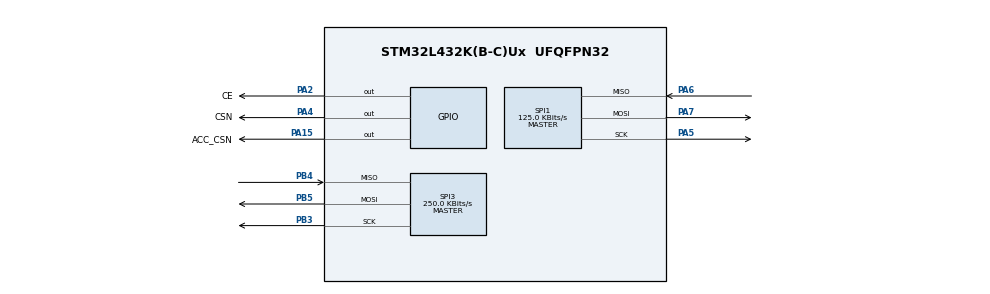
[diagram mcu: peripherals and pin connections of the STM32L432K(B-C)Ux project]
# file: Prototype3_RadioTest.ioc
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Mcu.Family=STM32L4
Mcu.Name=STM32L432K(B-C)Ux
Mcu.Package=UFQFPN32
NVIC.PriorityGroup=NVIC_PRIORITYGROUP_4
PA15\ (JTDI).GPIO_Label=ACC_CSN
PA15\ (JTDI).PinState=GPIO_PIN_RESET
PA15\ (JTDI).Signal=GPIO_Output
PA2.GPIO_Label=CE
PA2.Signal=GPIO_Output
PA4.GPIO_Label=CSN
PA4.PinState=GPIO_PIN_RESET
PA4.Signal=GPIO_Output
PA5.Mode=Full_Duplex_Master
PA5.Signal=SPI1_SCK
PA6.Mode=Full_Duplex_Master
PA6.Signal=SPI1_MISO
PA7.Mode=Full_Duplex_Master
PA7.Signal=SPI1_MOSI
PB3\ (JTDO-TRACESWO).Mode=Full_Duplex_Master
PB3\ (JTDO-TRACESWO).Signal=SPI3_SCK
PB4\ (NJTRST).Mode=Full_Duplex_Master
PB4\ (NJTRST).Signal=SPI3_MISO
PB5.Mode=Full_Duplex_Master
PB5.Signal=SPI3_MOSI
ProjectManager.HeapSize=0x200
ProjectManager.StackSize=0x400
ProjectManager.TargetToolchain=STM32CubeIDE
RCC.HSE_VALUE=8000000
RCC.HSI48_VALUE=48000000
RCC.HSI_VALUE=16000000
RCC.LSE_VALUE=32768
RCC.MSI_VALUE=4000000
RCC.VCOOutputFreq_Value=32000000
SPI1.BaudRatePrescaler=SPI_BAUDRATEPRESCALER_32
SPI1.CalculateBaudRate=125.0 KBits/s
SPI1.DataSize=SPI_DATASIZE_8BIT
SPI1.Direction=SPI_DIRECTION_2LINES
SPI1.Mode=SPI_MODE_MASTER
SPI1.VirtualType=VM_MASTER
SPI3.BaudRatePrescaler=SPI_BAUDRATEPRESCALER_16
SPI3.CLKPhase=SPI_PHASE_2EDGE
SPI3.CLKPolarity=SPI_POLARITY_HIGH
SPI3.CalculateBaudRate=250.0 KBits/s
SPI3.DataSize=SPI_DATASIZE_8BIT
SPI3.Direction=SPI_DIRECTION_2LINES
SPI3.Mode=SPI_MODE_MASTER
SPI3.VirtualType=VM_MASTER
board=custom

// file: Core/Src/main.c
/* USER CODE BEGIN Header */
/**
  ******************************************************************************
  * @file           : main.c
  * @brief          : Main program body
  ******************************************************************************
  * @attention
  *
  * Copyright (c) 2023 STMicroelectronics.
  * All rights reserved.
  *
  * This software is licensed under terms that can be found in the LICENSE file
  * in the root directory of this software component.
  * If no LICENSE file comes with this software, it is provided AS-IS.
  *
  ******************************************************************************
  */
/* USER CODE END Header */
#include "main.h"

/* USER CODE BEGIN Includes */
#include "nRF24L01.h"
/* USER CODE END Includes */

SPI_HandleTypeDef hspi1;
SPI_HandleTypeDef hspi3;

void SystemClock_Config(void);
static void MX_GPIO_Init(void);
static void MX_SPI1_Init(void);
static void MX_SPI3_Init(void);
/* USER CODE BEGIN PFP */
uint8_t acctxbuffer[8];
uint8_t accrxbuffer[8];
uint32_t SPITIMEOUT = 100;

uint8_t accSpiReadByte(uint8_t address)
{
	acctxbuffer[0] = address | 1 << 7; // set msb for reads
	acctxbuffer[1] = 0;
	HAL_GPIO_WritePin(GPIOA, ACC_CSN_Pin, GPIO_PIN_RESET); // Pull CS low
	HAL_SPI_TransmitReceive(&hspi3, acctxbuffer, accrxbuffer, 2*sizeof(uint8_t), SPITIMEOUT);
	HAL_GPIO_WritePin(GPIOA, ACC_CSN_Pin, GPIO_PIN_SET); // Release chip select
	return accrxbuffer[1];
}

void accSpiWriteByte(uint8_t address, uint8_t value)
{
	acctxbuffer[0] = address;
	acctxbuffer[1] = value;
	HAL_GPIO_WritePin(GPIOA, ACC_CSN_Pin, GPIO_PIN_RESET); // Pull CS low
	HAL_SPI_Transmit(&hspi3, acctxbuffer, 2, SPITIMEOUT);
	HAL_GPIO_WritePin(GPIOA, ACC_CSN_Pin, GPIO_PIN_SET); // Release chip select
}

uint8_t spiReadByte(uint8_t address);
void spiWriteByte(uint8_t address, uint8_t value);
void spiReadNByte(uint8_t reg, uint8_t *buf, uint8_t len);
void spiWriteNByte(uint8_t address, const uint8_t *buf, uint8_t len);
void setupTXsimple(void);
void checkTXsimple(uint8_t *buf, uint8_t *buf2 );
void transmitByte(uint8_t data);
void transmitBytes(uint8_t* txdata, uint8_t len);
void flushTXFIFO(void);
void flushRXFIFO(void);
void setupRXsimple();
uint8_t receiveByte();
/* USER CODE END PFP */

int main(void)
{

  /* MCU Configuration--------------------------------------------------------*/

  /* Reset of all peripherals, Initializes the Flash interface and the Systick. */
  HAL_Init();

  /* Configure the system clock */
  SystemClock_Config();

  /* Initialize all configured peripherals */
  MX_GPIO_Init();
  MX_SPI1_Init();
  MX_SPI3_Init();
  /* USER CODE BEGIN 2 */
  uint8_t checkStatus, checkFIFO_Status;
  //uint8_t receivedByte;
  setupTXsimple();
  //setupRXsimple(); // Configure as a receiver

  HAL_GPIO_WritePin(GPIOA, CE_Pin, GPIO_PIN_SET);
  HAL_GPIO_WritePin(GPIOA, ACC_CSN_Pin, GPIO_PIN_SET);

  // Setup the accelerometer
  // Read the WHO_AM_I Register (should be 0x31 = 51)
  uint8_t debug = accSpiReadByte(0x0F); // Should be 0x31 = 51
  debug = accSpiReadByte(0x0F);
  debug = accSpiReadByte(0x0F);

  // Setup the LIS3DH for use
  // CTRL_REG1 (20h) = 01110111 (0x77) - 400 Hz conversion rate
  // CTRL_REG1 (20h) = 00100111 (0x27) - 10 Hz conversion rate
  accSpiWriteByte(0x20, 0x77); // highest conversion rate, all axis on

  // CTRL_REG4 (23h) = 10001000 (0x88), low res 10000000 (0x80)
  accSpiWriteByte(0x23, 0x88); // block update, and high resolution

  //uint8_t xlow, xhigh, ylow, yhigh, zlow, zhigh = 0; // Acceleration values
  uint8_t dataBuffer[8]; // xlow, xhigh, ylow, yhigh, zlow, zhigh, steplow, stephigh
  int16_t xval, yval, zval;
  uint32_t accMag;

  uint32_t stepThresh = 1250*1250; // About 12 m/s^2
  uint32_t resetThresh = 1100*1100; // Use a different reset threshold for hysteresis
  uint32_t resetDelay = 200; // Count multiple steps within this time as one step
  uint32_t resetTimer = 0;
  int stepFlag = 0;
  uint16_t stepCount = 0; // IMPORTANT: Overflows at 65535 steps.
  int accSampleDelay = 1;
  int transmitDelay = 500;
  int transmitTimer = 0;
  /* USER CODE END 2 */

  /* Infinite loop */
  while (1)
  {

    /* USER CODE BEGIN 3 */
	HAL_Delay(accSampleDelay);
	transmitTimer += accSampleDelay;

	// 2 Hz continuous acceleration transmission
	// Read accelerometer
	dataBuffer[0] = accSpiReadByte(0x28); // xlow
	dataBuffer[1] = accSpiReadByte(0x29); // xhigh
	dataBuffer[2] = accSpiReadByte(0x2A); // ylow
	dataBuffer[3] = accSpiReadByte(0x2B); // yhigh
	dataBuffer[4] = accSpiReadByte(0x2C); // zlow
	dataBuffer[5] = accSpiReadByte(0x2D); // zhigh

	// Convert data to acceleration values
	xval = ((int16_t)(dataBuffer[1]<<8) | (dataBuffer[0]))/16;
	yval = ((int16_t)(dataBuffer[3]<<8) | (dataBuffer[2]))/16;
	zval = ((int16_t)(dataBuffer[5]<<8) | (dataBuffer[4]))/16;

	// Step counter
	accMag = xval*xval + yval*yval + zval*zval;
	if (!stepFlag)
	{
		if (accMag > stepThresh)
		{
			// Step registered
			stepFlag = 1;
			resetTimer = 0;
			stepCount++;
		}
	}
	else
	{
		resetTimer += accSampleDelay;
		if (resetTimer >= resetDelay && accMag < resetThresh)
		{
			// End of step
			stepFlag = 0;
		}
	}

	// Transmit data every 2 Hz
	if (transmitTimer >= transmitDelay)
	{
		transmitTimer -= transmitDelay;

		// Move current steps into data buffer
		dataBuffer[6] = stepCount & 0xFF; // Lower 8 bits of step count (steplow)
		dataBuffer[7] = stepCount >> 8; // Upper 8 bits of step count (stephigh)

		// Transmit data
		checkStatus = spiReadByte(REG_STATUS); // Expect x0E
		checkFIFO_Status = spiReadByte(REG_FIFO_STATUS); // x11 expected
		transmitBytes(dataBuffer, 8);
		checkStatus = spiReadByte(REG_STATUS); // Expect x2E
		spiWriteByte(REG_STATUS, 0x2E); // CLEARing datasend flag!
		checkStatus = spiReadByte(REG_STATUS); // Expect x0E
		checkFIFO_Status = spiReadByte(REG_FIFO_STATUS);// x01 expected
		flushTXFIFO();
	}
  }
  /* USER CODE END 3 */
}

void SystemClock_Config(void)
{
  RCC_OscInitTypeDef RCC_OscInitStruct = {0};
  RCC_ClkInitTypeDef RCC_ClkInitStruct = {0};

  /** Configure the main internal regulator output voltage
  */
  if (HAL_PWREx_ControlVoltageScaling(PWR_REGULATOR_VOLTAGE_SCALE1) != HAL_OK)
  {
    Error_Handler();
  }

  /** Initializes the RCC Oscillators according to the specified parameters
  * in the RCC_OscInitTypeDef structure.
  */
  RCC_OscInitStruct.OscillatorType = RCC_OSCILLATORTYPE_MSI;
  RCC_OscInitStruct.MSIState = RCC_MSI_ON;
  RCC_OscInitStruct.MSICalibrationValue = 0;
  RCC_OscInitStruct.MSIClockRange = RCC_MSIRANGE_6;
  RCC_OscInitStruct.PLL.PLLState = RCC_PLL_NONE;
  if (HAL_RCC_OscConfig(&RCC_OscInitStruct) != HAL_OK)
  {
    Error_Handler();
  }

  /** Initializes the CPU, AHB and APB buses clocks
  */
  RCC_ClkInitStruct.ClockType = RCC_CLOCKTYPE_HCLK|RCC_CLOCKTYPE_SYSCLK
                              |RCC_CLOCKTYPE_PCLK1|RCC_CLOCKTYPE_PCLK2;
  RCC_ClkInitStruct.SYSCLKSource = RCC_SYSCLKSOURCE_MSI;
  RCC_ClkInitStruct.AHBCLKDivider = RCC_SYSCLK_DIV1;
  RCC_ClkInitStruct.APB1CLKDivider = RCC_HCLK_DIV1;
  RCC_ClkInitStruct.APB2CLKDivider = RCC_HCLK_DIV1;

  if (HAL_RCC_ClockConfig(&RCC_ClkInitStruct, FLASH_LATENCY_0) != HAL_OK)
  {
    Error_Handler();
  }
}

static void MX_SPI1_Init(void)
{

  /* SPI1 parameter configuration*/
  hspi1.Instance = SPI1;
  hspi1.Init.Mode = SPI_MODE_MASTER;
  hspi1.Init.Direction = SPI_DIRECTION_2LINES;
  hspi1.Init.DataSize = SPI_DATASIZE_8BIT;
  hspi1.Init.CLKPolarity = SPI_POLARITY_LOW;
  hspi1.Init.CLKPhase = SPI_PHASE_1EDGE;
  hspi1.Init.NSS = SPI_NSS_SOFT;
  hspi1.Init.BaudRatePrescaler = SPI_BAUDRATEPRESCALER_32;
  hspi1.Init.FirstBit = SPI_FIRSTBIT_MSB;
  hspi1.Init.TIMode = SPI_TIMODE_DISABLE;
  hspi1.Init.CRCCalculation = SPI_CRCCALCULATION_DISABLE;
  hspi1.Init.CRCPolynomial = 7;
  hspi1.Init.CRCLength = SPI_CRC_LENGTH_DATASIZE;
  hspi1.Init.NSSPMode = SPI_NSS_PULSE_ENABLE;
  if (HAL_SPI_Init(&hspi1) != HAL_OK)
  {
    Error_Handler();
  }

}

static void MX_SPI3_Init(void)
{

  /* SPI3 parameter configuration*/
  hspi3.Instance = SPI3;
  hspi3.Init.Mode = SPI_MODE_MASTER;
  hspi3.Init.Direction = SPI_DIRECTION_2LINES;
  hspi3.Init.DataSize = SPI_DATASIZE_8BIT;
  hspi3.Init.CLKPolarity = SPI_POLARITY_HIGH;
  hspi3.Init.CLKPhase = SPI_PHASE_2EDGE;
  hspi3.Init.NSS = SPI_NSS_SOFT;
  hspi3.Init.BaudRatePrescaler = SPI_BAUDRATEPRESCALER_16;
  hspi3.Init.FirstBit = SPI_FIRSTBIT_MSB;
  hspi3.Init.TIMode = SPI_TIMODE_DISABLE;
  hspi3.Init.CRCCalculation = SPI_CRCCALCULATION_DISABLE;
  hspi3.Init.CRCPolynomial = 7;
  hspi3.Init.CRCLength = SPI_CRC_LENGTH_DATASIZE;
  hspi3.Init.NSSPMode = SPI_NSS_PULSE_DISABLE;
  if (HAL_SPI_Init(&hspi3) != HAL_OK)
  {
    Error_Handler();
  }

}

static void MX_GPIO_Init(void)
{
  GPIO_InitTypeDef GPIO_InitStruct = {0};

  /* GPIO Ports Clock Enable */
  __HAL_RCC_GPIOA_CLK_ENABLE();
  __HAL_RCC_GPIOB_CLK_ENABLE();

  /*Configure GPIO pin Output Level */
  HAL_GPIO_WritePin(GPIOA, CE_Pin|CSN_Pin|ACC_CSN_Pin, GPIO_PIN_RESET);

  /*Configure GPIO pins : CE_Pin CSN_Pin ACC_CSN_Pin */
  GPIO_InitStruct.Pin = CE_Pin|CSN_Pin|ACC_CSN_Pin;
  GPIO_InitStruct.Mode = GPIO_MODE_OUTPUT_PP;
  GPIO_InitStruct.Pull = GPIO_NOPULL;
  GPIO_InitStruct.Speed = GPIO_SPEED_FREQ_LOW;
  HAL_GPIO_Init(GPIOA, &GPIO_InitStruct);

}

/* USER CODE BEGIN 4 */
uint8_t spitxbuffer[8];
uint8_t spirxbuffer[8];
uint8_t spiReadByte(uint8_t address)
{
	spitxbuffer[0] = address;
	spitxbuffer[1] = 0;

	HAL_GPIO_WritePin(GPIOA, CSN_Pin, GPIO_PIN_RESET); // put CSN = 0
	HAL_SPI_TransmitReceive(&hspi1, spitxbuffer, spirxbuffer, 2*sizeof(uint8_t), HAL_MAX_DELAY);
	HAL_GPIO_WritePin(GPIOA, CSN_Pin, GPIO_PIN_SET); // put CSN = 0
	return spirxbuffer[1];

}

void spiWriteByte(uint8_t address, uint8_t value)
{
	spitxbuffer[0] = address | 1<<5; // need to set 3 msb to 1 for writes
	spitxbuffer[1] = value;

	HAL_GPIO_WritePin(GPIOA, CSN_Pin, GPIO_PIN_RESET); // put CSN = 0
	HAL_SPI_TransmitReceive(&hspi1, spitxbuffer, spirxbuffer, 2, HAL_MAX_DELAY);
	HAL_GPIO_WritePin(GPIOA, CSN_Pin, GPIO_PIN_SET); // put CSN = 0

}

void spiWriteNByte(uint8_t address, const uint8_t *buf, uint8_t len)
{
	spitxbuffer[0] = address | 1 <<5;
	spitxbuffer[1] = 0;
	//Put CSN low
	HAL_GPIO_WritePin(GPIOA, CSN_Pin, GPIO_PIN_RESET); // put CSN = 0
	//Transmit register address
	HAL_SPI_Transmit(&hspi1, spitxbuffer, 1, HAL_MAX_DELAY);	//Receive data
	HAL_SPI_Transmit(&hspi1, (uint8_t *)buf, len, HAL_MAX_DELAY);
	//Bring CSN high
	HAL_GPIO_WritePin(GPIOA, CSN_Pin, GPIO_PIN_SET); // put CSN = 1
}

void setupTXsimple(void)
{
	spiWriteByte(REG_SETUP_RETR, 0x00); // no retransmission / acknowledgment
	spiWriteByte(REG_EN_AA, 0x00); //no auto acknowledge
	spiWriteByte(REG_SETUP_AW, 0x02); // makes address width 4 bytes
	spiWriteByte(REG_RF_CH, 0x02);// make frequency 2.402 Ghz
	spiWriteByte(REG_RF_SETUP, 0x26); // lowest data rate + highest output pwr

	// What is our TX_ADDRESS
	uint8_t TxAddr[4] = {0x00, 0x11, 0x22, 0x33};
	spiWriteNByte(REG_TX_ADDR, TxAddr, 4);
	// RX address is the same as TX address
	spiWriteNByte(REG_RX_ADDR_P0, TxAddr, 4);

	// Receive Pipes not used
	spiWriteByte(REG_EN_RXADDR, 0x01); // Only enable pipe 0 [bit 0 = 1]
	spiWriteByte(REG_RX_PW_P0, 0x01); // 1 byte payload length on pipe 0

	// no shockburst stuff
	spiWriteByte(REG_DYNPD, 0x00);
	spiWriteByte(REG_FEATURE, 0x00);

	// TX mode
	// Enable error correction, power up, PRIM_RX = 0 [PTX]
	spiWriteByte(REG_CONFIG, 0x0A);
}

void setupRXsimple(void)
{
	spiWriteByte(REG_SETUP_RETR, 0x00); // no retransmission / acknowledgment
	spiWriteByte(REG_EN_AA, 0x00); //no auto acknowledge
	spiWriteByte(REG_SETUP_AW, 0x02); // makes address width 4 bytes
	spiWriteByte(REG_RF_CH, 0x02);// make frequency 2.402 Ghz
	spiWriteByte(REG_RF_SETUP, 0x26); // lowest data rate + highest output pwr

	// Address for the radio that we expect to be receiving data from
	uint8_t TxAddr[4] = {0x00, 0x11, 0x22, 0x33};
	// The unique address for data pipe 0 (see page 39 of datasheet)
	uint8_t Rx_0_Addr[4] = {0x78, 0x78, 0x78, 0x78};

	// Configure RX pipe 0 to the unique address, and pipe 1 to our transmitter address
	spiWriteNByte(REG_RX_ADDR_P0, Rx_0_Addr, 4);
	spiWriteNByte(REG_RX_ADDR_P1, TxAddr, 4);

	// Use channel 1
	// Note: I'm note sure if we need to enable pipe 0 here, since transmission is over pipe 1. Enabling it to be safe.
	spiWriteByte(REG_EN_RXADDR, 0x03); // Enable pipes 0 and 1 [bit 0 and 1 = 1]
	spiWriteByte(REG_RX_PW_P1, 0x01); // 1 byte payload length on pipe 1

	// no shockburst stuff
	spiWriteByte(REG_DYNPD, 0x00);
	spiWriteByte(REG_FEATURE, 0x00);

	// RX mode
	// Enable error correction [bit 3], power up [bit 1], PRIM_RX = 1 [PRX] [bit 0]
	spiWriteByte(REG_CONFIG, 0x0B);
}

void checkTXsimple(uint8_t *buf, uint8_t *buf2 )
{

	buf[0] = spiReadByte(REG_SETUP_RETR);
	buf[13] = spiReadByte(REG_EN_AA); //no auto acknowledge
	buf[1] = spiReadByte(REG_SETUP_AW); // makes address width 4 bytes
	buf[2] = spiReadByte(REG_RF_CH);// make frequency 2.402 Ghz
	buf[3] = spiReadByte(REG_RF_SETUP); // lowest data rate + highest output pwr

	// What is our TX_ADDRESS
	spiReadNByte(REG_TX_ADDR, (uint8_t *)buf2, 4);

	// Receive Pipes not used
	buf[4] =  spiReadByte(REG_RX_PW_P0);
	buf[5] =  spiReadByte(REG_RX_PW_P1);
	buf[6] =  spiReadByte(REG_RX_PW_P2);
	buf[7] =  spiReadByte(REG_RX_PW_P3);
	buf[8] =  spiReadByte(REG_RX_PW_P4);
	buf[9] =  spiReadByte(REG_RX_PW_P5);

	// no shockburst stuff
	buf[10] =  spiReadByte(REG_DYNPD);
	buf[11] =  spiReadByte(REG_FEATURE);
	buf[12] =  spiReadByte(REG_CONFIG);
}

void transmitByte(uint8_t data)
{
	uint8_t txData[2];
	txData[0] = 0xB0; // using the W_TX_PAYLOAD_NOACK cmd
	txData[1] = data;

	HAL_GPIO_WritePin(GPIOA, CSN_Pin, GPIO_PIN_RESET); // put CSN = 0
	// Send W_TX_Command
	HAL_SPI_Transmit(&hspi1, txData, 2, HAL_MAX_DELAY);
	HAL_GPIO_WritePin(GPIOA, CSN_Pin, GPIO_PIN_SET); // put CSN = 1
}

void transmitBytes(uint8_t* txdata, uint8_t len)
{
	uint8_t txPayload = 0xB0;
	HAL_GPIO_WritePin(GPIOA, CSN_Pin, GPIO_PIN_RESET);
	HAL_SPI_Transmit(&hspi1, &txPayload, 1, HAL_MAX_DELAY);
	HAL_SPI_Transmit(&hspi1, txdata, len, HAL_MAX_DELAY);
	HAL_GPIO_WritePin(GPIOA, CSN_Pin, GPIO_PIN_SET);
}

uint8_t receiveByte()
{
	uint8_t txData[2];
	uint8_t rxData[2];
	txData[0] = 0x61; // using the R_RX_PAYLOAD command
	txData[1] = 0x00;
	HAL_GPIO_WritePin(GPIOA, CSN_Pin, GPIO_PIN_RESET); // put CSN = 0
	// Send R_RX_PAYLOAD
	HAL_SPI_TransmitReceive(&hspi1, txData, rxData, 2*sizeof(uint8_t), HAL_MAX_DELAY);
	HAL_GPIO_WritePin(GPIOA, CSN_Pin, GPIO_PIN_SET); // put CSN = 1
	return rxData[1];
}

void receiveBytes(uint8_t* rxdata, uint8_t len)
{
	uint8_t txPayload = 0xB0;
	uint8_t txzeros[6];
	txzeros[0] = 0x00; // using the R_RX_PAYLOAD command
	txzeros[1] = 0x00;
	txzeros[2] = 0x00;
	txzeros[3] = 0x00;
	txzeros[4] = 0x00;
	txzeros[5] = 0x00;
	HAL_GPIO_WritePin(GPIOA, CSN_Pin, GPIO_PIN_RESET); // put CSN = 0
	// Send R_RX_PAYLOAD
	HAL_SPI_Transmit(&hspi1, &txPayload, 1, HAL_MAX_DELAY);
	HAL_SPI_TransmitReceive(&hspi1, txzeros, rxdata, len, HAL_MAX_DELAY);
	HAL_GPIO_WritePin(GPIOA, CSN_Pin, GPIO_PIN_SET); // put CSN = 1
}

void flushTXFIFO(void)
{
	uint8_t txData[2];
	txData[0] = 0xE1; // using the FLUSH_TX cmd
	txData[1] = 0x00;
	HAL_GPIO_WritePin(GPIOA, CSN_Pin, GPIO_PIN_RESET); // put CSN = 0
	// Send W_TX_Command
	HAL_SPI_Transmit(&hspi1, txData, 1, HAL_MAX_DELAY);
	HAL_GPIO_WritePin(GPIOA, CSN_Pin, GPIO_PIN_SET); // put CSN = 1
}

void flushRXFIFO(void)
{
	uint8_t txData = 0xE2; // using the FLUSH_RX command (1110 0010)
	HAL_GPIO_WritePin(GPIOA, CSN_Pin, GPIO_PIN_RESET); // put CSN = 0
	// Send W_TX_Command
	HAL_SPI_Transmit(&hspi1, &txData, 1*sizeof(uint8_t), HAL_MAX_DELAY);
	HAL_GPIO_WritePin(GPIOA, CSN_Pin, GPIO_PIN_SET); // put CSN = 1
}
/* USER CODE END 4 */

void Error_Handler(void)
{
  __disable_irq();
  while (1)
  {
  }
}
